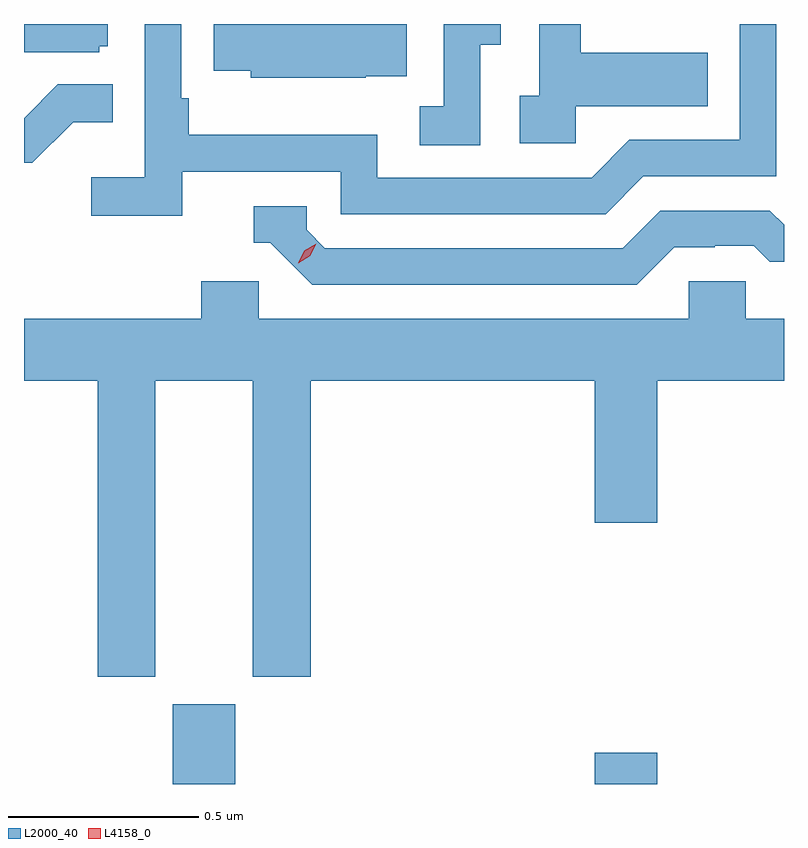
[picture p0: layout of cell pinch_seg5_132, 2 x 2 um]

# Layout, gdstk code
import gdstk
lib = gdstk.Library(unit=1e-6, precision=1e-09)
def R(c, l, rs):  # rectangles x0, y0, x1, y1
    for r in rs: c.add(gdstk.rectangle(r[:2], r[2:], *l))
def P(c, l, *ps):  # polygons
    for p in ps: c.add(gdstk.Polygon(p, *l))
L2000_40 = (2000, 40)
L4158_0 = (4158, 0)

pinch_seg5_132 = lib.new_cell('pinch_seg5_132')
R(pinch_seg5_132, L2000_40, [(1062.998,886.335,1063.162,886.545), (1064.108,886.335,1064.272,886.417)])
P(pinch_seg5_132, L2000_40, [(1063.505,888.197),(1063.613,888.197),(1063.613,888.334),(1063.216,888.334),(1063.216,888.335),(1063.105,888.335),(1063.105,888.212),(1063.203,888.212),(1063.203,888.194),(1063.505,888.194)],
  [(1063.806,888.28),(1063.861,888.28),(1063.861,888.335),(1063.71,888.335),(1063.71,888.119),(1063.647,888.119),(1063.647,888.016),(1063.806,888.016)],
  [(1063.022,887.946),(1063.44,887.946),(1063.44,887.835),(1064.137,887.835),(1064.236,887.934),(1064.586,887.934),(1064.586,888.335),(1064.49,888.335),(1064.49,888.03),(1064.199,888.03),(1064.1,887.931),(1063.536,887.931),(1063.536,888.043),(1063.04,888.043),(1063.04,888.139),(1063.02,888.139),(1063.02,888.335),(1062.924,888.335),(1062.924,887.932),(1062.783,887.932),(1062.783,887.83),(1063.022,887.83)],
  [(1062.804,888.276),(1062.826,888.276),(1062.826,888.335),(1062.606,888.335),(1062.606,888.261),(1062.804,888.261)],
  [(1064.058,888.119),(1064.405,888.119),(1064.405,888.259),(1064.071,888.259),(1064.071,888.335),(1063.962,888.335),(1063.962,888.146),(1063.911,888.146),(1063.911,888.021),(1064.058,888.021)],
  [(1062.735,888.077),(1062.839,888.077),(1062.839,888.176),(1062.695,888.176),(1062.606,888.087),(1062.606,887.97),(1062.628,887.97)],
  [(1064.317,887.748),(1064.424,887.748),(1064.424,887.751),(1064.527,887.751),(1064.569,887.709),(1064.606,887.709),(1064.606,887.807),(1064.569,887.844),(1064.28,887.844),(1064.181,887.745),(1063.398,887.745),(1063.35,887.793),(1063.35,887.856),(1063.211,887.856),(1063.211,887.76),(1063.254,887.76),(1063.365,887.649),(1064.218,887.649)],
  [(1062.952,887.396),(1063.208,887.396),(1063.208,886.617),(1063.361,886.617),(1063.361,887.396),(1064.108,887.396),(1064.108,887.022),(1064.272,887.022),(1064.272,887.396),(1064.606,887.396),(1064.606,887.56),(1064.505,887.56),(1064.505,887.658),(1064.355,887.658),(1064.355,887.56),(1063.224,887.56),(1063.224,887.658),(1063.073,887.658),(1063.073,887.56),(1062.606,887.56),(1062.606,887.396),(1062.8,887.396),(1062.8,886.617),(1062.952,886.617)])
P(pinch_seg5_132, L4158_0, [(1063.328,887.706),(1063.328,887.706),(1063.344,887.738),(1063.375,887.757),(1063.375,887.757),(1063.375,887.757),(1063.359,887.725),(1063.328,887.706)])

lib.write_gds('pinch_seg5_132.gds')
